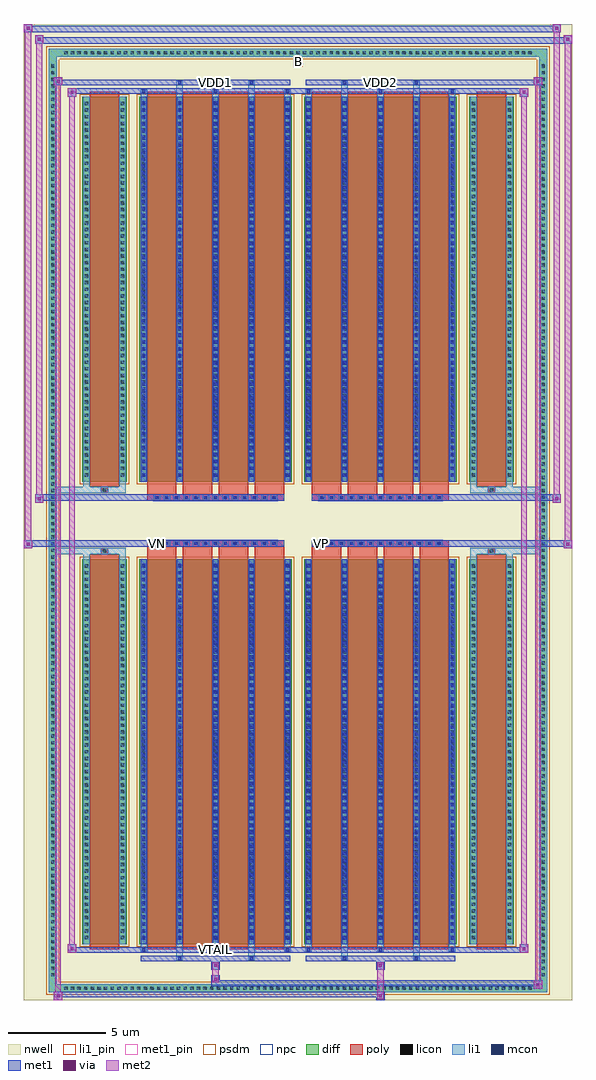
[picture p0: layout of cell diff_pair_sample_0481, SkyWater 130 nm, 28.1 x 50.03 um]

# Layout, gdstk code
import gdstk
lib = gdstk.Library(unit=1e-6, precision=5e-09)
def R(c, l, rs):  # rectangles x0, y0, x1, y1
    for r in rs: c.add(gdstk.rectangle(r[:2], r[2:], *l))
def A(c, l, x, y, w, h, nx, ny, dx, dy):  # array of equal rectangles
    R(c, l, [(x+i*dx, y+j*dy, x+i*dx+w, y+j*dy+h) for i in range(nx) for j in range(ny)])
def P(c, l, *ps):  # polygons
    for p in ps: c.add(gdstk.Polygon(p, *l))
nwell = (64, 20)
diff = (65, 20)
poly = (66, 20)
licon = (66, 44)
li1_pin = (67, 16)
li1 = (67, 20)
mcon = (67, 44)
met1_pin = (68, 16)
met1 = (68, 20)
via = (68, 44)
met2 = (69, 20)
psdm = (94, 20)
npc = (95, 20)

diff_pair_sample_0481 = lib.new_cell('diff_pair_sample_0481')
R(diff_pair_sample_0481, nwell, [(-14.05,-24.58,14.05,25.45), (-11.37,-22.77,-0.01,-0.805), (0.01,-22.77,11.37,-0.805), (-11.37,0.805,-0.01,22.77), (0.01,0.805,11.37,22.77)])
A(diff_pair_sample_0481, diff, -12.105, -24.18, 0.41, 0.41, 71, 2, 0.34, 47.95)
A(diff_pair_sample_0481, diff, -12.78, -23.495, 0.41, 0.41, 1, 138, 0, 0.34)
A(diff_pair_sample_0481, diff, 12.37, -23.495, 0.41, 0.41, 1, 138, 0, 0.34)
R(diff_pair_sample_0481, diff, [(-12.105,-24.18,12.105,-23.77), (-12.78,-23.495,-12.37,23.495), (12.37,-23.495,12.78,23.495), (-11.06,-21.725,-8.77,-1.985), (-8.13,-21.725,-0.32,-1.985), (0.32,-21.725,8.13,-1.985), (8.77,-21.725,11.06,-1.985), (-11.06,1.985,-8.77,21.725), (-8.13,1.985,-0.32,21.725), (0.32,1.985,8.13,21.725), (8.77,1.985,11.06,21.725), (-12.105,23.77,12.105,24.18)])
P(diff_pair_sample_0481, diff, [(12.78,24.18),(-12.78,24.18),(-12.78,-23.77),(-12.37,-23.77),(-12.37,23.77),(12.37,23.77),(12.37,-23.77),(-12.37,-23.77),(-12.78,-23.77),(-12.78,-24.18),(12.78,-24.18)])
A(diff_pair_sample_0481, poly, -7.74, -21.975, 1.51, 20.24, 4, 2, 1.84, 23.71)
A(diff_pair_sample_0481, poly, 0.71, -21.975, 1.51, 20.24, 4, 2, 1.84, 23.71)
A(diff_pair_sample_0481, poly, -7.74, -1.735, 1.51, 0.4, 4, 2, 1.84, 3.07)
A(diff_pair_sample_0481, poly, 0.71, -1.735, 1.51, 0.4, 4, 2, 1.84, 3.07)
A(diff_pair_sample_0481, poly, -7.39, -1.335, 0.33, 0.33, 13, 2, 0.5, 2.34)
A(diff_pair_sample_0481, poly, 1.06, -1.335, 0.33, 0.33, 13, 2, 0.5, 2.34)
R(diff_pair_sample_0481, poly, [(-10.67,-21.975,-9.16,-1.735), (9.16,-21.975,10.67,-1.735), (-10.08,-1.735,-9.75,-1.405), (-10.08,-1.735,-9.75,-1.405), (9.75,-1.735,10.08,-1.405), (9.75,-1.735,10.08,-1.405), (-7.74,-1.335,-0.71,-1.005), (0.71,-1.335,7.74,-1.005), (-7.74,1.005,-0.71,1.335), (0.71,1.005,7.74,1.335), (-10.08,1.405,-9.75,1.735), (-10.08,1.405,-9.75,1.735), (9.75,1.405,10.08,1.735), (9.75,1.405,10.08,1.735), (-10.67,1.735,-9.16,21.975), (9.16,1.735,10.67,21.975)])
A(diff_pair_sample_0481, licon, -11.985, -24.06, 0.17, 0.17, 71, 2, 0.34, 47.95)
A(diff_pair_sample_0481, licon, -12.66, -23.375, 0.17, 0.17, 1, 138, 0, 0.34)
A(diff_pair_sample_0481, licon, 12.49, -23.375, 0.17, 0.17, 1, 138, 0, 0.34)
A(diff_pair_sample_0481, licon, -10.92, -21.46, 0.17, 0.17, 1, 57, 0, 0.34)
A(diff_pair_sample_0481, licon, -9.08, -21.46, 0.17, 0.17, 1, 57, 0, 0.34)
A(diff_pair_sample_0481, licon, -7.99, -21.46, 0.17, 0.17, 5, 57, 1.84, 0.34)
A(diff_pair_sample_0481, licon, 0.46, -21.46, 0.17, 0.17, 5, 57, 1.84, 0.34)
A(diff_pair_sample_0481, licon, 8.91, -21.46, 0.17, 0.17, 1, 57, 0, 0.34)
A(diff_pair_sample_0481, licon, 10.75, -21.46, 0.17, 0.17, 1, 57, 0, 0.34)
A(diff_pair_sample_0481, licon, -7.31, -1.255, 0.17, 0.17, 13, 2, 0.5, 2.34)
A(diff_pair_sample_0481, licon, 1.14, -1.255, 0.17, 0.17, 13, 2, 0.5, 2.34)
A(diff_pair_sample_0481, licon, -10.92, 2.25, 0.17, 0.17, 1, 57, 0, 0.34)
A(diff_pair_sample_0481, licon, -9.08, 2.25, 0.17, 0.17, 1, 57, 0, 0.34)
A(diff_pair_sample_0481, licon, -7.99, 2.25, 0.17, 0.17, 5, 57, 1.84, 0.34)
A(diff_pair_sample_0481, licon, 0.46, 2.25, 0.17, 0.17, 5, 57, 1.84, 0.34)
A(diff_pair_sample_0481, licon, 8.91, 2.25, 0.17, 0.17, 1, 57, 0, 0.34)
A(diff_pair_sample_0481, licon, 10.75, 2.25, 0.17, 0.17, 1, 57, 0, 0.34)
R(diff_pair_sample_0481, licon, [(-10,-1.655,-9.83,-1.485), (9.83,-1.655,10,-1.485), (-10,1.485,-9.83,1.655), (9.83,1.485,10,1.655)])
R(diff_pair_sample_0481, li1_pin, [(-0.25,23.27,0.25,23.77)])
A(diff_pair_sample_0481, li1, -12.065, -24.14, 0.33, 0.33, 71, 2, 0.34, 47.95)
A(diff_pair_sample_0481, li1, -12.74, -23.455, 0.33, 0.33, 1, 138, 0, 0.34)
A(diff_pair_sample_0481, li1, 12.41, -23.455, 0.33, 0.33, 1, 138, 0, 0.34)
A(diff_pair_sample_0481, li1, -8.07, -22.1, 0.33, 0.375, 3, 2, 3.68, 43.825)
A(diff_pair_sample_0481, li1, -7.99, -22.1, 0.17, 0.17, 3, 2, 3.68, 44.03)
A(diff_pair_sample_0481, li1, 0.38, -22.1, 0.33, 0.375, 3, 2, 3.68, 43.825)
A(diff_pair_sample_0481, li1, 0.46, -22.1, 0.17, 0.17, 3, 2, 3.68, 44.03)
A(diff_pair_sample_0481, li1, -8.07, -21.725, 0.33, 19.74, 5, 2, 1.84, 23.71)
A(diff_pair_sample_0481, li1, 0.38, -21.725, 0.33, 19.74, 5, 2, 1.84, 23.71)
A(diff_pair_sample_0481, li1, -11, -21.54, 0.33, 0.33, 1, 57, 0, 0.34)
A(diff_pair_sample_0481, li1, -9.16, -21.54, 0.33, 0.33, 1, 57, 0, 0.34)
A(diff_pair_sample_0481, li1, -8.07, -21.54, 0.33, 0.33, 5, 57, 1.84, 0.34)
A(diff_pair_sample_0481, li1, 0.38, -21.54, 0.33, 0.33, 5, 57, 1.84, 0.34)
A(diff_pair_sample_0481, li1, 8.83, -21.54, 0.33, 0.33, 1, 57, 0, 0.34)
A(diff_pair_sample_0481, li1, 10.67, -21.54, 0.33, 0.33, 1, 57, 0, 0.34)
A(diff_pair_sample_0481, li1, -7.99, -21.48, 0.17, 0.17, 5, 54, 1.84, 0.36)
A(diff_pair_sample_0481, li1, -7.99, -21.48, 0.17, 19.25, 5, 2, 1.84, 23.71)
A(diff_pair_sample_0481, li1, 0.46, -21.48, 0.17, 0.17, 5, 54, 1.84, 0.36)
A(diff_pair_sample_0481, li1, 0.46, -21.48, 0.17, 19.25, 5, 2, 1.84, 23.71)
A(diff_pair_sample_0481, li1, -7.39, -1.335, 0.33, 0.33, 13, 2, 0.5, 2.34)
A(diff_pair_sample_0481, li1, 1.06, -1.335, 0.33, 0.33, 13, 2, 0.5, 2.34)
A(diff_pair_sample_0481, li1, -11, 2.17, 0.33, 0.33, 1, 57, 0, 0.34)
A(diff_pair_sample_0481, li1, -9.16, 2.17, 0.33, 0.33, 1, 57, 0, 0.34)
A(diff_pair_sample_0481, li1, -8.07, 2.17, 0.33, 0.33, 5, 57, 1.84, 0.34)
A(diff_pair_sample_0481, li1, 0.38, 2.17, 0.33, 0.33, 5, 57, 1.84, 0.34)
A(diff_pair_sample_0481, li1, 8.83, 2.17, 0.33, 0.33, 1, 57, 0, 0.34)
A(diff_pair_sample_0481, li1, 10.67, 2.17, 0.33, 0.33, 1, 57, 0, 0.34)
A(diff_pair_sample_0481, li1, -7.99, 2.23, 0.17, 0.17, 5, 54, 1.84, 0.36)
A(diff_pair_sample_0481, li1, 0.46, 2.23, 0.17, 0.17, 5, 54, 1.84, 0.36)
R(diff_pair_sample_0481, li1, [(-12.78,-24.18,-12.37,-23.77), (-12.78,-24.18,-12.37,-23.77), (-12.37,-24.18,12.37,-23.77), (12.37,-24.18,12.78,-23.77), (12.37,-24.18,12.78,-23.77), (-12.78,-23.77,-12.37,23.77), (12.37,-23.77,12.78,23.77), (-6.23,-22.53,-5.9,-21.725), (-6.15,-22.53,-5.98,-22.36), (-2.55,-22.53,-2.22,-21.725), (-2.47,-22.53,-2.3,-22.36), (2.22,-22.53,2.55,-21.725), (2.3,-22.53,2.47,-22.36), (5.9,-22.53,6.23,-21.725), (5.98,-22.53,6.15,-22.36), (-11,-21.725,-10.67,-1.985), (-9.16,-21.725,-8.83,-1.985), (8.83,-21.725,9.16,-1.985), (10.67,-21.725,11,-1.985), (-11,-1.985,-10.67,-1.405), (-9.16,-1.985,-8.83,-1.405), (8.83,-1.985,9.16,-1.405), (10.67,-1.985,11,-1.405), (-12.78,-1.735,-10.08,-1.405), (-11,-1.735,-10.08,-1.405), (-10.08,-1.735,-9.75,-1.405), (-9.75,-1.735,-8.83,-1.405), (8.83,-1.735,9.75,-1.405), (9.75,-1.735,10.08,-1.405), (9.75,-1.735,12.78,-1.405), (10.08,-1.735,11,-1.405), (-12.78,1.405,-10.08,1.735), (-11,1.405,-10.08,1.735), (-11,1.405,-10.67,1.985), (-10.08,1.405,-9.75,1.735), (-9.75,1.405,-8.83,1.735), (-9.16,1.405,-8.83,1.985), (8.83,1.405,9.75,1.735), (8.83,1.405,9.16,1.985), (9.75,1.405,10.08,1.735), (9.75,1.405,12.78,1.735), (10.08,1.405,11,1.735), (10.67,1.405,11,1.985), (-11,1.985,-10.67,21.725), (-9.16,1.985,-8.83,21.725), (8.83,1.985,9.16,21.725), (10.67,1.985,11,21.725), (-6.23,21.725,-5.9,22.53), (-2.55,21.725,-2.22,22.53), (2.22,21.725,2.55,22.53), (5.9,21.725,6.23,22.53), (-6.15,22.36,-5.98,22.53), (-2.47,22.36,-2.3,22.53), (2.3,22.36,2.47,22.53), (5.98,22.36,6.15,22.53), (-12.78,23.77,-12.37,24.18), (-12.78,23.77,-12.37,24.18), (-12.37,23.77,12.37,24.18), (12.37,23.77,12.78,24.18), (12.37,23.77,12.78,24.18)])
A(diff_pair_sample_0481, mcon, -7.99, -22.1, 0.17, 0.17, 3, 2, 3.68, 44.03)
A(diff_pair_sample_0481, mcon, 0.46, -22.1, 0.17, 0.17, 3, 2, 3.68, 44.03)
A(diff_pair_sample_0481, mcon, -7.99, -21.48, 0.17, 0.17, 5, 54, 1.84, 0.36)
A(diff_pair_sample_0481, mcon, 0.46, -21.48, 0.17, 0.17, 5, 54, 1.84, 0.36)
A(diff_pair_sample_0481, mcon, -7.31, -1.255, 0.17, 0.17, 13, 2, 0.5, 2.34)
A(diff_pair_sample_0481, mcon, 1.14, -1.255, 0.17, 0.17, 13, 2, 0.5, 2.34)
A(diff_pair_sample_0481, mcon, -7.99, 2.23, 0.17, 0.17, 5, 54, 1.84, 0.36)
A(diff_pair_sample_0481, mcon, 0.46, 2.23, 0.17, 0.17, 5, 54, 1.84, 0.36)
R(diff_pair_sample_0481, mcon, [(-6.15,-22.53,-5.98,-22.36), (-2.47,-22.53,-2.3,-22.36), (2.3,-22.53,2.47,-22.36), (5.98,-22.53,6.15,-22.36), (-6.15,22.36,-5.98,22.53), (-2.47,22.36,-2.3,22.53), (2.3,22.36,2.47,22.53), (5.98,22.36,6.15,22.53)])
R(diff_pair_sample_0481, met1_pin, [(-4.36,-22.14,-4.09,-21.87), (-7.36,-1.295,-7.09,-1.025), (1.09,-1.295,1.36,-1.025), (-4.36,22.32,-4.09,22.59), (4.09,22.32,4.36,22.59)])
A(diff_pair_sample_0481, met1, -8.05, -22.16, 0.29, 0.29, 3, 2, 3.68, 44.03)
A(diff_pair_sample_0481, met1, 0.4, -22.16, 0.29, 0.29, 3, 2, 3.68, 44.03)
A(diff_pair_sample_0481, met1, -8.05, -21.725, 0.29, 19.74, 5, 2, 1.84, 23.71)
A(diff_pair_sample_0481, met1, 0.4, -21.725, 0.29, 19.74, 5, 2, 1.84, 23.71)
A(diff_pair_sample_0481, met1, -8.05, -21.54, 0.29, 0.29, 5, 54, 1.84, 0.36)
A(diff_pair_sample_0481, met1, 0.4, -21.54, 0.29, 0.29, 5, 54, 1.84, 0.36)
A(diff_pair_sample_0481, met1, -7.37, -1.315, 0.29, 0.29, 13, 2, 0.5, 2.34)
A(diff_pair_sample_0481, met1, 1.08, -1.315, 0.29, 0.29, 13, 2, 0.5, 2.34)
A(diff_pair_sample_0481, met1, -8.05, 2.17, 0.29, 0.29, 5, 54, 1.84, 0.36)
A(diff_pair_sample_0481, met1, 0.4, 2.17, 0.29, 0.29, 5, 54, 1.84, 0.36)
R(diff_pair_sample_0481, met1, [(-12.51,-24.58,-12.08,-24.15), (4.01,-24.58,4.44,-24.15), (-12.51,-24.44,4.44,-24.15), (12.08,-24.01,12.51,-23.58), (-4.44,-23.87,12.51,-23.58), (-4.44,-23.73,-4.01,-23.3), (-4.44,-23.02,-4.01,-22.59), (4.01,-23.02,4.44,-22.59), (-8.05,-22.59,-0.4,-22.3), (-6.21,-22.59,-5.92,-22.3), (-2.53,-22.59,-2.24,-22.3), (0.4,-22.59,8.05,-22.3), (2.24,-22.59,2.53,-22.3), (5.92,-22.59,6.21,-22.3), (-11.8,-22.16,-11.37,-21.73), (-11.8,-22.16,-8.05,-21.87), (-8.05,-22.16,-0.4,-21.87), (-0.4,-22.16,0.4,-21.87), (0.4,-22.16,8.05,-21.87), (8.05,-22.16,11.8,-21.87), (11.37,-22.16,11.8,-21.73), (-14.05,-1.435,-13.62,-1.005), (13.62,-1.435,14.05,-1.005), (-14.05,-1.335,-0.71,-1.005), (-7.74,-1.335,-0.71,-1.005), (0.71,-1.335,7.74,-1.005), (0.71,-1.335,14.05,-1.005), (-13.48,0.905,-13.05,1.335), (13.05,0.905,13.48,1.335), (-13.48,1.005,-7.74,1.335), (-7.74,1.005,-0.71,1.335), (0.71,1.005,7.74,1.335), (7.74,1.005,13.48,1.335), (-11.8,21.73,-11.37,22.16), (11.37,21.73,11.8,22.16), (-11.8,21.87,-8.05,22.16), (-8.05,21.87,-0.4,22.16), (-0.4,21.87,0.4,22.16), (0.4,21.87,8.05,22.16), (8.05,21.87,11.8,22.16), (-12.51,22.3,-12.08,22.73), (-12.51,22.3,-8.05,22.59), (-8.05,22.3,-0.4,22.59), (-6.21,22.3,-5.92,22.59), (-2.53,22.3,-2.24,22.59), (0.4,22.3,8.05,22.59), (2.24,22.3,2.53,22.59), (5.92,22.3,6.21,22.59), (8.05,22.3,12.51,22.59), (12.08,22.3,12.51,22.73), (-13.48,24.45,-13.05,24.88), (-13.48,24.45,-11.37,24.78), (-11.37,24.45,11.37,24.78), (11.37,24.45,14.05,24.78), (13.62,24.45,14.05,24.88), (-14.05,25.02,-13.62,25.45), (-14.05,25.02,-11.37,25.35), (-11.37,25.02,11.37,25.35), (11.37,25.02,13.48,25.35), (13.05,25.02,13.48,25.45)])
R(diff_pair_sample_0481, via, [(-12.37,-24.44,-12.22,-24.29), (4.15,-24.44,4.3,-24.29), (12.22,-23.87,12.37,-23.72), (-4.3,-23.59,-4.15,-23.44), (-4.3,-22.88,-4.15,-22.73), (4.15,-22.88,4.3,-22.73), (-11.66,-22.02,-11.51,-21.87), (11.51,-22.02,11.66,-21.87), (-13.91,-1.295,-13.76,-1.145), (13.76,-1.295,13.91,-1.145), (-13.34,1.045,-13.19,1.195), (13.19,1.045,13.34,1.195), (-11.66,21.87,-11.51,22.02), (11.51,21.87,11.66,22.02), (-12.37,22.44,-12.22,22.59), (12.22,22.44,12.37,22.59), (-13.34,24.59,-13.19,24.74), (13.76,24.59,13.91,24.74), (-13.91,25.16,-13.76,25.31), (13.19,25.16,13.34,25.31)])
R(diff_pair_sample_0481, met2, [(-12.51,-24.58,-12.08,-24.15), (-12.44,-24.58,-12.15,22.73), (-12.15,-24.58,-12.08,-24.15), (-12.46,-24.53,-12.13,-24.2), (4.06,-24.53,4.39,-24.2), (4.06,-24.2,4.39,-22.97), (12.08,-24.01,12.51,-23.58), (12.15,-24.01,12.44,22.73), (12.44,-24.01,12.51,-23.58), (12.13,-23.96,12.46,-23.63), (-4.39,-23.68,-4.06,-23.35), (-4.39,-23.35,-4.06,-22.97), (-4.39,-22.97,-4.06,-22.64), (4.06,-22.97,4.39,-22.64), (-11.8,-22.16,-11.37,-21.73), (-11.73,-22.16,-11.44,22.16), (-11.44,-22.16,-11.37,-21.73), (11.37,-22.16,11.8,-21.73), (11.44,-22.16,11.73,22.16), (11.73,-22.16,11.8,-21.73), (-11.75,-22.11,-11.42,-21.78), (11.42,-22.11,11.75,-21.78), (-14.05,-1.435,-13.62,-1.005), (-14,-1.435,-13.67,25.45), (-13.67,-1.435,-13.62,-1.005), (13.62,-1.435,14.05,-1.005), (13.67,-1.435,14,24.88), (14,-1.435,14.05,-1.005), (-14,-1.385,-13.67,-1.055), (13.67,-1.385,14,-1.055), (-13.48,0.905,-13.05,1.335), (-13.43,0.905,-13.1,24.88), (-13.1,0.905,-13.05,1.335), (13.05,0.905,13.48,1.335), (13.1,0.905,13.43,25.45), (13.43,0.905,13.48,1.335), (-13.43,0.955,-13.1,1.285), (13.1,0.955,13.43,1.285), (-11.8,21.73,-11.37,22.16), (-11.44,21.73,-11.37,22.16), (11.37,21.73,11.8,22.16), (11.73,21.73,11.8,22.16), (-11.75,21.78,-11.42,22.11), (11.42,21.78,11.75,22.11), (-12.51,22.3,-12.08,22.73), (-12.15,22.3,-12.08,22.73), (12.08,22.3,12.51,22.73), (12.44,22.3,12.51,22.73), (-12.46,22.35,-12.13,22.68), (12.13,22.35,12.46,22.68), (-13.48,24.45,-13.05,24.88), (-13.1,24.45,-13.05,24.88), (13.62,24.45,14.05,24.88), (14,24.45,14.05,24.88), (-13.43,24.5,-13.1,24.83), (13.67,24.5,14,24.83), (-14.05,25.02,-13.62,25.45), (-13.67,25.02,-13.62,25.45), (13.05,25.02,13.48,25.45), (13.43,25.02,13.48,25.45), (-14,25.07,-13.67,25.4), (13.1,25.07,13.43,25.4)])
R(diff_pair_sample_0481, psdm, [(-11.19,-21.855,-8.64,-1.855), (-8.26,-21.855,-0.19,-1.855), (0.19,-21.855,8.26,-1.855), (8.64,-21.855,11.19,-1.855), (-11.19,1.855,-8.64,21.855), (-8.26,1.855,-0.19,21.855), (0.19,1.855,8.26,21.855), (8.64,1.855,11.19,21.855)])
P(diff_pair_sample_0481, psdm, [(12.91,24.31),(-12.91,24.31),(-12.91,-23.64),(-12.24,-23.64),(-12.24,23.64),(12.24,23.64),(12.24,-23.64),(-12.24,-23.64),(-12.91,-23.64),(-12.91,-24.31),(12.91,-24.31)])
A(diff_pair_sample_0481, npc, -7.41, -1.355, 0.37, 0.37, 13, 2, 0.5, 2.34)
A(diff_pair_sample_0481, npc, 1.04, -1.355, 0.37, 0.37, 13, 2, 0.5, 2.34)
R(diff_pair_sample_0481, npc, [(-10.1,-1.755,-9.73,-1.385), (9.73,-1.755,10.1,-1.385), (-7.41,-1.355,-6.54,-0.985), (-7.41,-1.355,-6.54,-0.985), (-6.91,-1.355,-6.04,-0.985), (-6.91,-1.355,-6.04,-0.985), (-6.41,-1.355,-5.54,-0.985), (-6.41,-1.355,-5.54,-0.985), (-5.91,-1.355,-5.04,-0.985), (-5.91,-1.355,-5.04,-0.985), (-5.41,-1.355,-4.54,-0.985), (-5.41,-1.355,-4.54,-0.985), (-4.91,-1.355,-4.04,-0.985), (-4.91,-1.355,-4.04,-0.985), (-4.41,-1.355,-3.54,-0.985), (-4.41,-1.355,-3.54,-0.985), (-3.91,-1.355,-3.04,-0.985), (-3.91,-1.355,-3.04,-0.985), (-3.41,-1.355,-2.54,-0.985), (-3.41,-1.355,-2.54,-0.985), (-2.91,-1.355,-2.04,-0.985), (-2.91,-1.355,-2.04,-0.985), (-2.41,-1.355,-1.54,-0.985), (-2.41,-1.355,-1.54,-0.985), (-1.91,-1.355,-1.04,-0.985), (-1.91,-1.355,-1.04,-0.985), (1.04,-1.355,1.91,-0.985), (1.04,-1.355,1.91,-0.985), (1.54,-1.355,2.41,-0.985), (1.54,-1.355,2.41,-0.985), (2.04,-1.355,2.91,-0.985), (2.04,-1.355,2.91,-0.985), (2.54,-1.355,3.41,-0.985), (2.54,-1.355,3.41,-0.985), (3.04,-1.355,3.91,-0.985), (3.04,-1.355,3.91,-0.985), (3.54,-1.355,4.41,-0.985), (3.54,-1.355,4.41,-0.985), (4.04,-1.355,4.91,-0.985), (4.04,-1.355,4.91,-0.985), (4.54,-1.355,5.41,-0.985), (4.54,-1.355,5.41,-0.985), (5.04,-1.355,5.91,-0.985), (5.04,-1.355,5.91,-0.985), (5.54,-1.355,6.41,-0.985), (5.54,-1.355,6.41,-0.985), (6.04,-1.355,6.91,-0.985), (6.04,-1.355,6.91,-0.985), (6.54,-1.355,7.41,-0.985), (6.54,-1.355,7.41,-0.985), (-7.41,0.985,-6.54,1.355), (-7.41,0.985,-6.54,1.355), (-6.91,0.985,-6.04,1.355), (-6.91,0.985,-6.04,1.355), (-6.41,0.985,-5.54,1.355), (-6.41,0.985,-5.54,1.355), (-5.91,0.985,-5.04,1.355), (-5.91,0.985,-5.04,1.355), (-5.41,0.985,-4.54,1.355), (-5.41,0.985,-4.54,1.355), (-4.91,0.985,-4.04,1.355), (-4.91,0.985,-4.04,1.355), (-4.41,0.985,-3.54,1.355), (-4.41,0.985,-3.54,1.355), (-3.91,0.985,-3.04,1.355), (-3.91,0.985,-3.04,1.355), (-3.41,0.985,-2.54,1.355), (-3.41,0.985,-2.54,1.355), (-2.91,0.985,-2.04,1.355), (-2.91,0.985,-2.04,1.355), (-2.41,0.985,-1.54,1.355), (-2.41,0.985,-1.54,1.355), (-1.91,0.985,-1.04,1.355), (-1.91,0.985,-1.04,1.355), (1.04,0.985,1.91,1.355), (1.04,0.985,1.91,1.355), (1.54,0.985,2.41,1.355), (1.54,0.985,2.41,1.355), (2.04,0.985,2.91,1.355), (2.04,0.985,2.91,1.355), (2.54,0.985,3.41,1.355), (2.54,0.985,3.41,1.355), (3.04,0.985,3.91,1.355), (3.04,0.985,3.91,1.355), (3.54,0.985,4.41,1.355), (3.54,0.985,4.41,1.355), (4.04,0.985,4.91,1.355), (4.04,0.985,4.91,1.355), (4.54,0.985,5.41,1.355), (4.54,0.985,5.41,1.355), (5.04,0.985,5.91,1.355), (5.04,0.985,5.91,1.355), (5.54,0.985,6.41,1.355), (5.54,0.985,6.41,1.355), (6.04,0.985,6.91,1.355), (6.04,0.985,6.91,1.355), (6.54,0.985,7.41,1.355), (6.54,0.985,7.41,1.355), (-10.1,1.385,-9.73,1.755), (9.73,1.385,10.1,1.755)])
diff_pair_sample_0481.add(gdstk.Label('VTAIL', (-4.225,-22.005), layer=68, texttype=5))
diff_pair_sample_0481.add(gdstk.Label('VN', (-7.225,-1.16), layer=68, texttype=5))
diff_pair_sample_0481.add(gdstk.Label('VP', (1.225,-1.16), layer=68, texttype=5))
diff_pair_sample_0481.add(gdstk.Label('B', (0,23.52), layer=67, texttype=5))
diff_pair_sample_0481.add(gdstk.Label('VDD2', (4.225,22.455), layer=68, texttype=5))
diff_pair_sample_0481.add(gdstk.Label('VDD1', (-4.225,22.455), layer=68, texttype=5))

lib.write_gds('diff_pair_sample_0481.gds')
